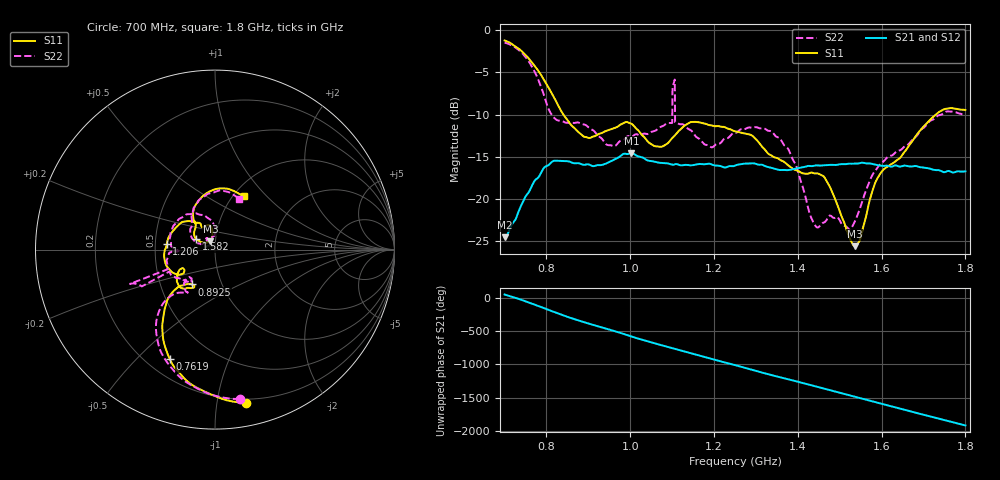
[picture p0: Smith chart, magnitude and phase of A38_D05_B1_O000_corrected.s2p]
! Created with skrf 1.9.0 (http://scikit-rf.org).
# Hz S RI R 50.0
!freq ReS11 ImS11 ReS21 ImS21 ReS12 ImS12 ReS22 ImS22
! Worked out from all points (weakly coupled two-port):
!   1601 points, 700 MHz to 1.8 GHz, reference 50 ohm
!   highest |S21| = -14.55 dB at 1.002 GHz (marker M1); lowest = -24.5 dB at 700 MHz (marker M2)
!   lowest |S11| = -25.6 dB at 1.535 GHz (marker M3), VSWR 1.11, Z = 47.3 + j4.39 ohm
!   |S11| at or under -10 dB: 840.4 MHz to 1.729 GHz (888.3 MHz wide, 69.2 % of centre)
!   |S22| runs from -23.6 to -1.5 dB; largest |S21 - S12| = 0.0035
!   S11 on the Smith chart (normalised r, x): 700 MHz: 0.17, -1.21; 761.9 MHz: 0.29, -0.63; 892.5 MHz: 0.72, -0.30; 1.206 GHz: 0.58, +0.04; 1.582 GHz: 0.80, +0.10; 1.8 GHz: 1.12, +0.75
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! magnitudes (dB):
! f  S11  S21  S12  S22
! 700 MHz  -1.2  -24.5  -24.3  -1.5
! 761.9 MHz  -3.6  -18.8  -18.7  -4.0
! 816.9 MHz  -7.9  -15.5  -15.6  -10.3
! 883.6 MHz  -12.4  -15.9  -15.8  -11.1
! 892.5 MHz  -12.7  -15.9  -16.0  -11.2
! 947.5 MHz  -11.8  -15.7  -15.7  -13.6
! 1.002 GHz  -11.1  -14.5  -14.7  -12.6
! 1.067 GHz  -13.8  -15.7  -15.6  -11.6
! 1.095 GHz  -13.1  -15.8  -15.9  -11.0
! 1.106 GHz  -12.5  -15.9  -15.9  -5.8
! 1.113 GHz  -12.1  -15.9  -16.0  -11.0
! 1.206 GHz  -11.4  -16.0  -16.1  -13.5
! 1.25 GHz  -12.0  -16.0  -16.0  -12.2
! 1.358 GHz  -15.4  -16.5  -16.5  -12.9
! 1.396 GHz  -16.6  -16.4  -16.4  -16.0
! 1.434 GHz  -16.9  -16.1  -16.1  -22.4
! 1.469 GHz  -17.8  -16.0  -16.0  -22.4
! 1.535 GHz  -25.6  -15.8  -15.8  -22.7
! 1.582 GHz  -18.4  -15.9  -15.9  -16.8
! 1.617 GHz  -16.1  -16.1  -16.0  -14.9
! 1.734 GHz  -9.8  -16.6  -16.6  -10.1
! 1.8 GHz  -9.4  -16.7  -16.7  -10.1
